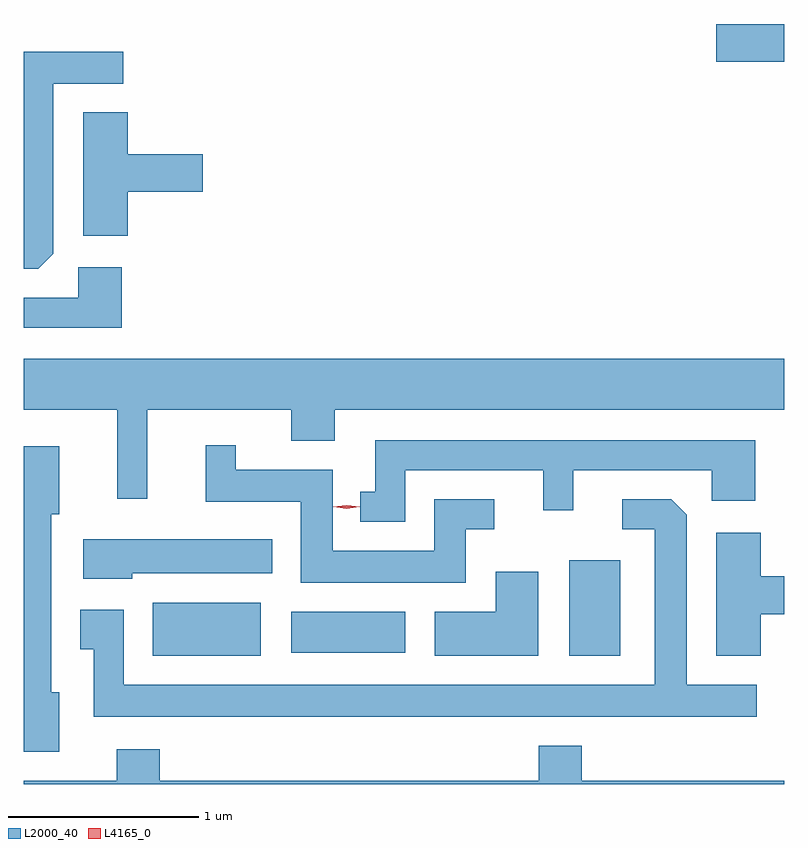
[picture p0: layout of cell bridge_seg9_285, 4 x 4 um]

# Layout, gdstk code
import gdstk
lib = gdstk.Library(unit=1e-6, precision=1e-09)
def R(c, l, rs):  # rectangles x0, y0, x1, y1
    for r in rs: c.add(gdstk.rectangle(r[:2], r[2:], *l))
def P(c, l, *ps):  # polygons
    for p in ps: c.add(gdstk.Polygon(p, *l))
L2000_40 = (2000, 40)
L4165_0 = (4165, 0)

bridge_seg9_285 = lib.new_cell('bridge_seg9_285')
R(bridge_seg9_285, L2000_40, [(1026.671,2046.021,1027.239,2046.299), (1028.861,2046.021,1029.129,2046.524), (1027.401,2046.036,1027.999,2046.254), (1029.636,2049.146,1029.993,2049.344)])
P(bridge_seg9_285, L2000_40, [(1026.149,2048.137),(1026.149,2049.031),(1026.517,2049.031),(1026.517,2049.199),(1025.993,2049.199),(1025.993,2048.056),(1026.069,2048.056)],
  [(1026.539,2048.461),(1026.934,2048.461),(1026.934,2048.659),(1026.539,2048.659),(1026.539,2048.879),(1026.306,2048.879),(1026.306,2048.231),(1026.539,2048.231)],
  [(1026.509,2048.064),(1026.281,2048.064),(1026.281,2047.904),(1025.993,2047.904),(1025.993,2047.746),(1026.509,2047.746)],
  [(1026.644,2047.316),(1027.401,2047.316),(1027.401,2047.151),(1027.629,2047.151),(1027.629,2047.316),(1029.993,2047.316),(1029.993,2047.584),(1025.993,2047.584),(1025.993,2047.316),(1026.486,2047.316),(1026.486,2046.848),(1026.644,2046.848)],
  [(1027.999,2046.996),(1028.726,2046.996),(1028.726,2046.788),(1028.884,2046.788),(1028.884,2046.996),(1029.611,2046.996),(1029.611,2046.836),(1029.839,2046.836),(1029.839,2047.154),(1027.841,2047.154),(1027.841,2046.884),(1027.763,2046.884),(1027.763,2046.726),(1027.999,2046.726)],
  [(1028.319,2046.686),(1028.468,2046.686),(1028.468,2046.844),(1028.151,2046.844),(1028.151,2046.574),(1027.619,2046.574),(1027.619,2046.999),(1027.109,2046.999),(1027.109,2047.128),(1026.951,2047.128),(1026.951,2046.831),(1027.451,2046.831),(1027.451,2046.406),(1028.319,2046.406)],
  [(1026.179,2045.829),(1026.139,2045.829),(1026.139,2046.766),(1026.179,2046.766),(1026.179,2047.124),(1025.993,2047.124),(1025.993,2045.516),(1026.179,2045.516)],
  [(1029.848,2045.869),(1029.479,2045.869),(1029.479,2046.764),(1029.399,2046.844),(1029.142,2046.844),(1029.142,2046.686),(1029.311,2046.686),(1029.311,2045.869),(1026.519,2045.869),(1026.519,2046.264),(1026.291,2046.264),(1026.291,2046.056),(1026.361,2046.056),(1026.361,2045.701),(1029.848,2045.701)],
  [(1029.869,2046.241),(1029.993,2046.241),(1029.993,2046.439),(1029.869,2046.439),(1029.869,2046.669),(1029.636,2046.669),(1029.636,2046.021),(1029.869,2046.021)],
  [(1026.564,2046.456),(1027.299,2046.456),(1027.299,2046.634),(1026.306,2046.634),(1026.306,2046.426),(1026.564,2046.426)],
  [(1028.699,2046.464),(1028.476,2046.464),(1028.476,2046.254),(1028.156,2046.254),(1028.156,2046.021),(1028.699,2046.021)],
  [(1029.993,2045.364),(1028.929,2045.364),(1028.929,2045.549),(1028.701,2045.549),(1028.701,2045.364),(1026.709,2045.364),(1026.709,2045.529),(1026.481,2045.529),(1026.481,2045.364),(1025.993,2045.364),(1025.993,2045.347),(1029.993,2045.347)])
P(bridge_seg9_285, L4165_0, [(1027.692,2046.795),(1027.622,2046.804),(1027.622,2046.804),(1027.622,2046.805),(1027.692,2046.814),(1027.761,2046.805),(1027.761,2046.805),(1027.761,2046.804)])

lib.write_gds('bridge_seg9_285.gds')
